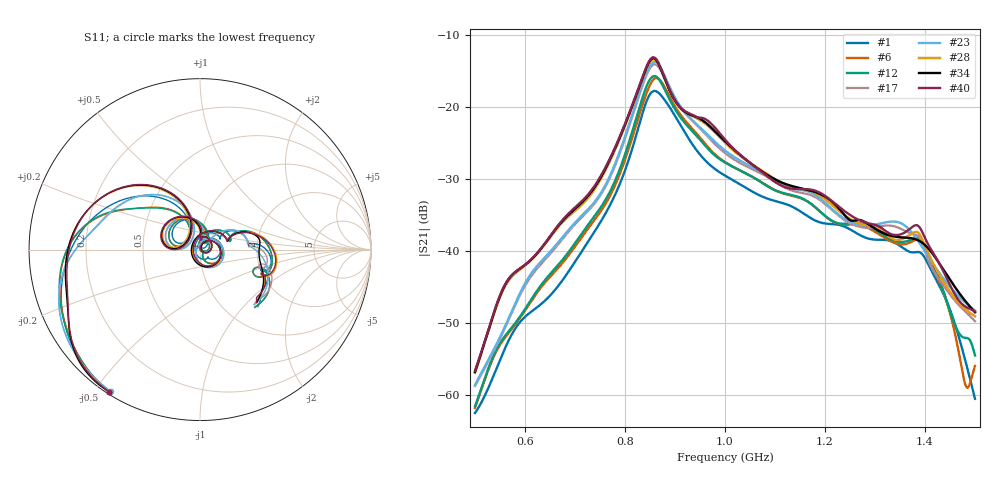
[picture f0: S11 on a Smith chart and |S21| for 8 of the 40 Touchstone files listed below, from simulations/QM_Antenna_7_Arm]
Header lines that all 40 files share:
! TOUCHSTONE file generated by CST MICROWAVE STUDIO
! Header version: 2018
! Port assignment regex: !\s*Touchstone port\s*([0-9]+)\s*=\s*(CST MWS port|CST DS port)\s*([0-9]+|Zmin|Zmax)\s*\(\"(.*)\"\)(\s*mode\s*([0-9]+))?.*
! Touchstone port assignment:
! Touchstone port 1 = CST MWS port 1 ("")
! Touchstone port 2 = CST MWS port 2 ("")
# GHz S DB R 50
Fixed: L_HA = 400, MT = 2.54, Rad_Dielectric = 30, Rad_Lower = 7.3, Rad_Upper = 30, a_HA = 580, a_WG = 246, b_HA = 500, b_WG = 121, c_HA = 0, c_WG = 187, d_feed = 85, h_feed = 15, h_lower = 18, h_upper = 40
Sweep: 500 MHz to 1.5 GHz
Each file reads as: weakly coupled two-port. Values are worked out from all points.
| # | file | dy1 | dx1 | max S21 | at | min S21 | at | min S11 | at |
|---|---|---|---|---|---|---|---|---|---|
| 1 | 12_4.s2p | -155.249 | 693 | -17.82 dB | 859 MHz | -62.4 dB | 500 MHz | -36.1 dB | 919 MHz |
| 2 | 12_5.s2p | -155.249 | 866 | -19.02 dB | 863 MHz | -63.3 dB | 500 MHz | -34.9 dB | 929 MHz |
| 3 | 12_6.s2p | -155.249 | 1039 | -19.84 dB | 864 MHz | -63.8 dB | 500 MHz | -50.5 dB | 1.131 GHz |
| 4 | 13_1.s2p | -138.4 | 173 | -15.15 dB | 857 MHz | -58.1 dB | 500 MHz | -39.2 dB | 954 MHz |
| 5 | 13_2.s2p | -138.4 | 346 | -14.90 dB | 859 MHz | -59.1 dB | 500 MHz | -44.8 dB | 946 MHz |
| 6 | 13_3.s2p | -137.908 | 520 | -16.03 dB | 863 MHz | -61.8 dB | 500 MHz | -57.2 dB | 1.153 GHz |
| 7 | 13_4.s2p | -137.908 | 693 | -17.57 dB | 860 MHz | -62.4 dB | 500 MHz | -38.2 dB | 935 MHz |
| 8 | 13_5.s2p | -137.908 | 866 | -18.94 dB | 860 MHz | -74.1 dB | 531 MHz | -31.9 dB | 927 MHz |
| 9 | 13_6.s2p | -137.908 | 1039 | -20.00 dB | 860 MHz | -63.6 dB | 500 MHz | -52.2 dB | 1.13 GHz |
| 10 | 14_1.s2p | -121.1 | 173 | -14.56 dB | 857 MHz | -57.7 dB | 500 MHz | -40.3 dB | 957 MHz |
| 11 | 14_2.s2p | -121.1 | 346 | -14.49 dB | 858 MHz | -58.9 dB | 500 MHz | -45.8 dB | 948 MHz |
| 12 | 14_3.s2p | -120.567 | 520 | -15.76 dB | 859 MHz | -61.5 dB | 500 MHz | -62.7 dB | 1.153 GHz |
| 13 | 14_4.s2p | -120.567 | 693 | -17.40 dB | 860 MHz | -62.2 dB | 500 MHz | -35.4 dB | 937 MHz |
| 14 | 14_5.s2p | -120.567 | 866 | -18.94 dB | 860 MHz | -63.0 dB | 500 MHz | -35.0 dB | 925 MHz |
| 15 | 14_6.s2p | -120.567 | 1039 | -20.08 dB | 860 MHz | -63.5 dB | 500 MHz | -89.6 dB | 928 MHz |
| 16 | 15_1.s2p | -103.8 | 173 | -14.09 dB | 857 MHz | -57.4 dB | 500 MHz | -42.5 dB | 959 MHz |
| 17 | 15_2.s2p | -103.8 | 346 | -14.14 dB | 859 MHz | -58.7 dB | 500 MHz | -44.3 dB | 949 MHz |
| 18 | 15_3.s2p | -103.226 | 520 | -15.47 dB | 860 MHz | -61.4 dB | 500 MHz | -48.0 dB | 1.154 GHz |
| 19 | 15_4.s2p | -103.226 | 693 | -17.24 dB | 860 MHz | -62.1 dB | 500 MHz | -38.1 dB | 937 MHz |
| 20 | 15_5.s2p | -103.226 | 866 | -18.89 dB | 860 MHz | -62.9 dB | 500 MHz | -35.3 dB | 931 MHz |
| 21 | 15_6.s2p | -103.226 | 1039 | -20.15 dB | 860 MHz | -63.4 dB | 500 MHz | -43.7 dB | 1.13 GHz |
| 22 | 16_1.s2p | -86.5 | 173 | -13.72 dB | 857 MHz | -57.1 dB | 500 MHz | -40.0 dB | 962 MHz |
| 23 | 16_2.s2p | -86.5 | 346 | -13.82 dB | 859 MHz | -58.6 dB | 500 MHz | -42.8 dB | 950 MHz |
| 24 | 16_3.s2p | -85.885 | 520 | -15.27 dB | 860 MHz | -61.3 dB | 500 MHz | -53.7 dB | 1.154 GHz |
| 25 | 16_4.s2p | -85.885 | 693 | -17.11 dB | 860 MHz | -62.1 dB | 500 MHz | -39.2 dB | 937 MHz |
| 26 | 16_5.s2p | -85.885 | 866 | -18.78 dB | 861 MHz | -62.8 dB | 500 MHz | -35.5 dB | 930 MHz |
| 27 | 16_6.s2p | -85.885 | 1039 | -20.24 dB | 860 MHz | -63.3 dB | 500 MHz | -44.6 dB | 1.13 GHz |
| 28 | 17_1.s2p | -69.2 | 173 | -13.44 dB | 857 MHz | -56.9 dB | 500 MHz | -41.0 dB | 961 MHz |
| 29 | 17_2.s2p | -69.2 | 346 | -13.61 dB | 859 MHz | -58.4 dB | 500 MHz | -40.8 dB | 951 MHz |
| 30 | 17_3.s2p | -68.544 | 520 | -15.09 dB | 860 MHz | -61.2 dB | 500 MHz | -50.4 dB | 1.155 GHz |
| 31 | 17_4.s2p | -68.544 | 693 | -17.03 dB | 861 MHz | -62.0 dB | 500 MHz | -33.8 dB | 941 MHz |
| 32 | 17_5.s2p | -68.544 | 866 | -18.83 dB | 860 MHz | -62.7 dB | 500 MHz | -34.5 dB | 931 MHz |
| 33 | 17_6.s2p | -68.544 | 1039 | -20.25 dB | 860 MHz | -63.2 dB | 500 MHz | -43.3 dB | 1.13 GHz |
| 34 | 18_1.s2p | -51.9 | 173 | -13.27 dB | 857 MHz | -56.8 dB | 500 MHz | -41.8 dB | 964 MHz |
| 35 | 18_2.s2p | -51.9 | 346 | -13.46 dB | 859 MHz | -58.3 dB | 500 MHz | -42.4 dB | 1.106 GHz |
| 36 | 18_3.s2p | -51.203 | 520 | -15.00 dB | 860 MHz | -61.1 dB | 500 MHz | -42.7 dB | 1.156 GHz |
| 37 | 18_4.s2p | -51.203 | 693 | -16.98 dB | 860 MHz | -62.1 dB | 505 MHz | -32.3 dB | 941 MHz |
| 38 | 18_5.s2p | -51.203 | 866 | -18.83 dB | 860 MHz | -62.6 dB | 500 MHz | -34.9 dB | 931 MHz |
| 39 | 18_6.s2p | -51.203 | 1039 | -20.27 dB | 860 MHz | -63.2 dB | 500 MHz | -45.8 dB | 1.132 GHz |
| 40 | 19_1.s2p | -34.6 | 173 | -13.15 dB | 857 MHz | -56.6 dB | 500 MHz | -45.5 dB | 961 MHz |
